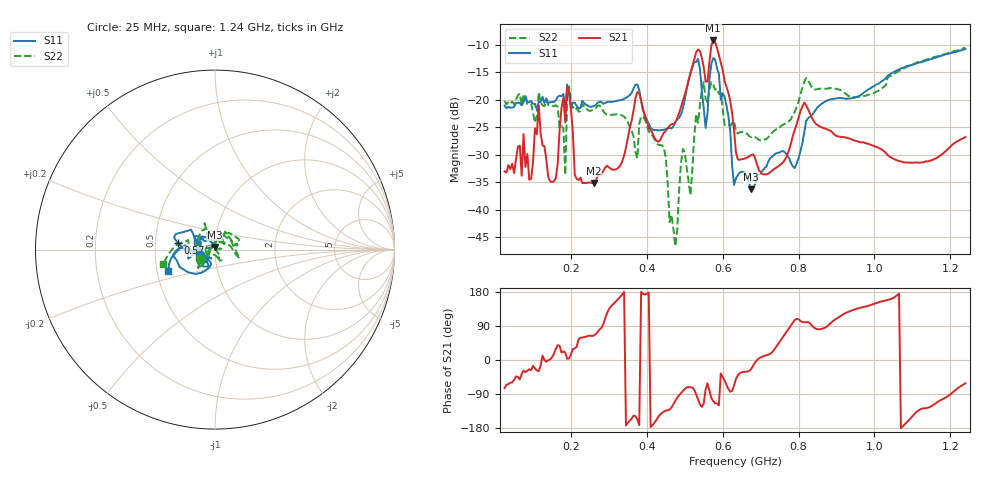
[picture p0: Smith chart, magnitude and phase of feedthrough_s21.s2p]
!Created with skrf (http://scikit-rf.org).
# Hz S RI R 50.0
!freq ReS11 ImS11 ReS21 ImS21 ReS12 ImS12 ReS22 ImS22
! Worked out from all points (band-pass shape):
!   244 points, 25 MHz to 1.24 GHz, reference 50 ohm
!   highest |S21| = -9.20 dB at 575 MHz (marker M1); lowest = -35.1 dB at 260 MHz (marker M2)
!   |S21| within 3 dB of the highest: 526.8 MHz to 544.4 MHz (17.63 MHz wide, 3.29 % of centre); 566.6 MHz to 591.3 MHz (24.72 MHz wide, 4.27 % of centre)
!   lowest |S11| = -36.3 dB at 675 MHz (marker M3), VSWR 1.03, Z = 49.9 + j1.53 ohm
!   |S11| at or under -10 dB: start of sweep to end of sweep
!   |S22| runs from -46.6 to -10.5 dB; largest |S21 - S12| = 0.35
!   S11 on the Smith chart (normalised r, x): 25 MHz: 0.84, -0.05; 570 MHz: 0.65, +0.05; 1.24 GHz: 0.57, -0.15
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2.5e7  -0.0833 -0.0299  0.00608 -0.0216  0 0  -0.0812 -0.0543
9.5e7  -0.0978 0.000861  0.017 -0.00879  0 0  -0.0903 -0.0176
1.15e8  -0.0953 0.00557  0.0781 -0.0441  0 0  -0.081 -0.0849
1.65e8  -0.1057 -0.0123  0.0203 0.0166  0 0  -0.0814 -0.0296
1.85e8  -0.0452 0.0704  0.0587 0.0205  0 0  -0.0167 0.0123
1.9e8  -0.1148 0.0763  0.1308 0.00708  0 0  -0.0882 -0.0587
2.3e8  -0.0908 -0.037  0.00891 0.0151  0 0  -0.0762 -0.0509
2.6e8  -0.0827 -0.0297  0.00757 0.0158  0 0  -0.07 -0.0436
3.75e8  -0.095 -0.0998  -0.1077 -0.0469  0 0  -0.00137 -0.0294
4.3e8  -0.0218 -0.0479  -0.036 -0.0207  0 0  0.0183 -0.0344
4.75e8  -0.0434 -0.0453  -0.0195 -0.0593  0 0  0.00467 0.000184
4.95e8  -0.0213 -0.0804  0.0131 -0.0967  0 0  0.0354 0.00528
5.15e8  -0.1092 -0.136  0.0542 -0.1669  0 0  0.0098 0.00941
5.3e8  -0.2136 -0.0592  -0.00503 -0.2703  0 0  0.0398 0.0626
5.55e8  -0.0317 -0.0456  0.0321 -0.1437  0 0  0.0901 0.0476
5.7e8  -0.208 0.0361  -0.0526 -0.3055  0 0  0.1323 0.0595
5.75e8  -0.229 0.0693  -0.11 -0.3288  0 0  0.1335 0.0354
6.35e8  0.00345 0.019  0.0211 -0.0256  0 0  0.0319 0.0402
6.75e8  -0.000623 0.0154  0.0288 -0.0128  0 0  0.023 0.0395
8.35e8  -0.0549 0.0469  -0.0013 0.0692  0 0  -0.0501 0.12
1.04e9  -0.1688 0.021  -0.0287 0.0105  0 0  -0.1552 0.0504
1.24e9  -0.264 -0.1206  0.022 -0.0404  0 0  -0.2875 -0.0797
